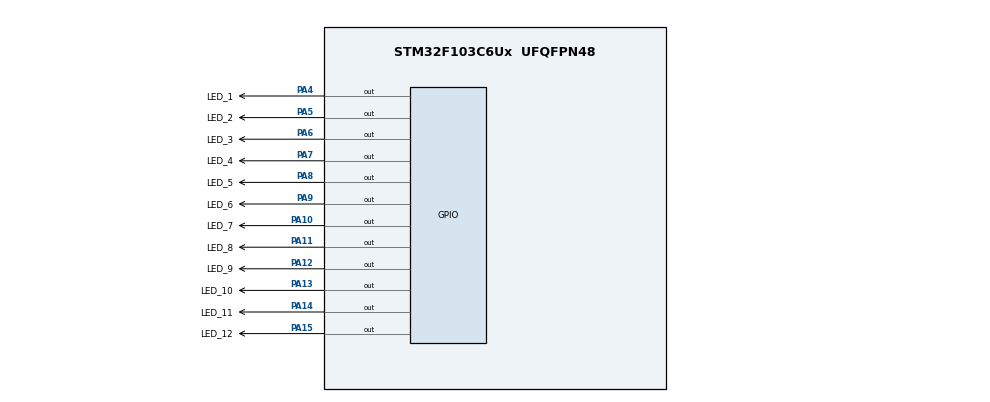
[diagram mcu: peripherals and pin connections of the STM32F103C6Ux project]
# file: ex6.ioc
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Mcu.Family=STM32F1
Mcu.Name=STM32F103C6Ux
Mcu.Package=UFQFPN48
NVIC.PriorityGroup=NVIC_PRIORITYGROUP_4
PA10.GPIO_Label=LED_7
PA10.Signal=GPIO_Output
PA11.GPIO_Label=LED_8
PA11.Signal=GPIO_Output
PA12.GPIO_Label=LED_9
PA12.Signal=GPIO_Output
PA13.GPIO_Label=LED_10
PA13.Signal=GPIO_Output
PA14.GPIO_Label=LED_11
PA14.Signal=GPIO_Output
PA15.GPIO_Label=LED_12
PA15.Signal=GPIO_Output
PA4.GPIO_Label=LED_1
PA4.Signal=GPIO_Output
PA5.GPIO_Label=LED_2
PA5.Signal=GPIO_Output
PA6.GPIO_Label=LED_3
PA6.Signal=GPIO_Output
PA7.GPIO_Label=LED_4
PA7.Signal=GPIO_Output
PA8.GPIO_Label=LED_5
PA8.Signal=GPIO_Output
PA9.GPIO_Label=LED_6
PA9.Signal=GPIO_Output
ProjectManager.HeapSize=0x200
ProjectManager.StackSize=0x400
ProjectManager.TargetToolchain=STM32CubeIDE
RCC.APB1Freq_Value=8000000
RCC.APB2Freq_Value=8000000
VP_SYS_VS_ND.Mode=No_Debug
board=custom

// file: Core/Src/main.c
/* USER CODE BEGIN Header */
/**
  ******************************************************************************
  * @file           : main.c
  * @brief          : Main program body
  ******************************************************************************
  * @attention
  *
  * <h2><center>&copy; Copyright (c) 2022 STMicroelectronics.
  * All rights reserved.</center></h2>
  *
  * This software component is licensed by ST under BSD 3-Clause license,
  * the "License"; You may not use this file except in compliance with the
  * License. You may obtain a copy of the License at:
  *                        opensource.org/licenses/BSD-3-Clause
  *
  ******************************************************************************
  */
/* USER CODE END Header */
#include "main.h"

void SystemClock_Config(void);
static void MX_GPIO_Init(void);

/* USER CODE BEGIN 0 */
int counter=0;
int counter0=0;
int counter1 =0;
int counter2=0;
/* USER CODE END 0 */

int main(void)
{
  /* USER CODE BEGIN 1 */
//	void sequence(int counter){ //ex 6
//			if(counter<1){
//				  HAL_GPIO_WritePin(LED_12_GPIO_Port, LED_12_Pin, SET );
//				  HAL_GPIO_WritePin(LED_11_GPIO_Port, LED_11_Pin, RESET );
//				  HAL_GPIO_WritePin(LED_10_GPIO_Port, LED_10_Pin, RESET );
//				  HAL_GPIO_WritePin(LED_9_GPIO_Port, LED_9_Pin, RESET );
//				  HAL_GPIO_WritePin(LED_8_GPIO_Port, LED_8_Pin, RESET );
//				  HAL_GPIO_WritePin(LED_7_GPIO_Port, LED_7_Pin, RESET );
//				  HAL_GPIO_WritePin(LED_6_GPIO_Port, LED_6_Pin, RESET );
//				  HAL_GPIO_WritePin(LED_5_GPIO_Port, LED_5_Pin, RESET );
//				  HAL_GPIO_WritePin(LED_5_GPIO_Port, LED_5_Pin, RESET );
//				  HAL_GPIO_WritePin(LED_4_GPIO_Port, LED_4_Pin, RESET );
//				  HAL_GPIO_WritePin(LED_3_GPIO_Port, LED_3_Pin, RESET );
//				  HAL_GPIO_WritePin(LED_2_GPIO_Port, LED_2_Pin, RESET );
//				  HAL_GPIO_WritePin(LED_1_GPIO_Port, LED_1_Pin, RESET );
//
//				  }
//				  else if(counter<2){
//					  HAL_GPIO_WritePin(LED_12_GPIO_Port, LED_12_Pin, RESET );
//					  HAL_GPIO_WritePin(LED_11_GPIO_Port, LED_11_Pin, RESET );
//					  HAL_GPIO_WritePin(LED_10_GPIO_Port, LED_10_Pin, RESET );
//					  HAL_GPIO_WritePin(LED_9_GPIO_Port, LED_9_Pin, RESET );
//					  HAL_GPIO_WritePin(LED_8_GPIO_Port, LED_8_Pin, RESET );
//					  HAL_GPIO_WritePin(LED_7_GPIO_Port, LED_7_Pin, RESET );
//					  HAL_GPIO_WritePin(LED_6_GPIO_Port, LED_6_Pin, RESET );
//					  HAL_GPIO_WritePin(LED_5_GPIO_Port, LED_5_Pin, RESET );
//					  HAL_GPIO_WritePin(LED_4_GPIO_Port, LED_4_Pin, RESET );
//					  HAL_GPIO_WritePin(LED_3_GPIO_Port, LED_3_Pin, RESET );
//					  HAL_GPIO_WritePin(LED_2_GPIO_Port, LED_2_Pin, RESET );
//					  HAL_GPIO_WritePin(LED_1_GPIO_Port, LED_1_Pin, SET );
//				  }
//				  else if(counter<3){
//					  HAL_GPIO_WritePin(LED_12_GPIO_Port, LED_12_Pin, RESET );
//					  HAL_GPIO_WritePin(LED_11_GPIO_Port, LED_11_Pin, RESET );
//					  HAL_GPIO_WritePin(LED_10_GPIO_Port, LED_10_Pin, RESET );
//					  HAL_GPIO_WritePin(LED_9_GPIO_Port, LED_9_Pin, RESET );
//					  HAL_GPIO_WritePin(LED_8_GPIO_Port, LED_8_Pin, RESET );
//					  HAL_GPIO_WritePin(LED_7_GPIO_Port, LED_7_Pin, RESET );
//					  HAL_GPIO_WritePin(LED_6_GPIO_Port, LED_6_Pin, RESET );
//					  HAL_GPIO_WritePin(LED_5_GPIO_Port, LED_5_Pin, RESET );
//					  HAL_GPIO_WritePin(LED_4_GPIO_Port, LED_4_Pin, RESET );
//					  HAL_GPIO_WritePin(LED_3_GPIO_Port, LED_3_Pin, RESET );
//					  HAL_GPIO_WritePin(LED_2_GPIO_Port, LED_2_Pin, SET );
//					  HAL_GPIO_WritePin(LED_1_GPIO_Port, LED_1_Pin, RESET );
//				  }
//				  else if(counter<4){
//					  HAL_GPIO_WritePin(LED_12_GPIO_Port, LED_12_Pin, RESET );
//					  HAL_GPIO_WritePin(LED_11_GPIO_Port, LED_11_Pin, RESET );
//					  HAL_GPIO_WritePin(LED_10_GPIO_Port, LED_10_Pin, RESET );
//					  HAL_GPIO_WritePin(LED_9_GPIO_Port, LED_9_Pin, RESET );
//					  HAL_GPIO_WritePin(LED_8_GPIO_Port, LED_8_Pin, RESET );
//					  HAL_GPIO_WritePin(LED_7_GPIO_Port, LED_7_Pin, RESET );
//					  HAL_GPIO_WritePin(LED_6_GPIO_Port, LED_6_Pin, RESET );
//					  HAL_GPIO_WritePin(LED_5_GPIO_Port, LED_5_Pin, RESET );
//					  HAL_GPIO_WritePin(LED_4_GPIO_Port, LED_4_Pin, RESET );
//					  HAL_GPIO_WritePin(LED_3_GPIO_Port, LED_3_Pin, SET );
//					  HAL_GPIO_WritePin(LED_2_GPIO_Port, LED_2_Pin, RESET );
//					  HAL_GPIO_WritePin(LED_1_GPIO_Port, LED_1_Pin, RESET );
//				  }
//				  else if(counter<5){
//					  HAL_GPIO_WritePin(LED_12_GPIO_Port, LED_12_Pin, RESET );
//					  HAL_GPIO_WritePin(LED_11_GPIO_Port, LED_11_Pin, RESET );
//					  HAL_GPIO_WritePin(LED_10_GPIO_Port, LED_10_Pin, RESET );
//					  HAL_GPIO_WritePin(LED_9_GPIO_Port, LED_9_Pin, RESET );
//					  HAL_GPIO_WritePin(LED_8_GPIO_Port, LED_8_Pin, RESET );
//					  HAL_GPIO_WritePin(LED_7_GPIO_Port, LED_7_Pin, RESET );
//					  HAL_GPIO_WritePin(LED_6_GPIO_Port, LED_6_Pin, RESET );
//					  HAL_GPIO_WritePin(LED_5_GPIO_Port, LED_5_Pin, RESET );
//					  HAL_GPIO_WritePin(LED_4_GPIO_Port, LED_4_Pin, SET );
//					  HAL_GPIO_WritePin(LED_3_GPIO_Port, LED_3_Pin, RESET );
//					  HAL_GPIO_WritePin(LED_2_GPIO_Port, LED_2_Pin, RESET );
//					  HAL_GPIO_WritePin(LED_1_GPIO_Port, LED_1_Pin, RESET );
//				  }
//				  else if(counter<6){
//				  		  HAL_GPIO_WritePin(LED_12_GPIO_Port, LED_12_Pin, RESET );
//				  		  HAL_GPIO_WritePin(LED_11_GPIO_Port, LED_11_Pin, RESET );
//				  		  HAL_GPIO_WritePin(LED_10_GPIO_Port, LED_10_Pin, RESET );
//				  		  HAL_GPIO_WritePin(LED_9_GPIO_Port, LED_9_Pin, RESET );
//				  		  HAL_GPIO_WritePin(LED_8_GPIO_Port, LED_8_Pin, RESET );
//				  		  HAL_GPIO_WritePin(LED_7_GPIO_Port, LED_7_Pin, RESET );
//				  		  HAL_GPIO_WritePin(LED_6_GPIO_Port, LED_6_Pin, RESET );
//				  		  HAL_GPIO_WritePin(LED_5_GPIO_Port, LED_5_Pin, SET );
//				  		  HAL_GPIO_WritePin(LED_4_GPIO_Port, LED_4_Pin, RESET );
//				  		  HAL_GPIO_WritePin(LED_3_GPIO_Port, LED_3_Pin, RESET );
//				  		  HAL_GPIO_WritePin(LED_2_GPIO_Port, LED_2_Pin, RESET );
//				  		  HAL_GPIO_WritePin(LED_1_GPIO_Port, LED_1_Pin, RESET );
//				  	  }
//				  else if(counter<7){
//				  	  		  HAL_GPIO_WritePin(LED_12_GPIO_Port, LED_12_Pin, RESET );
//				  	  		  HAL_GPIO_WritePin(LED_11_GPIO_Port, LED_11_Pin, RESET );
//				  	  		  HAL_GPIO_WritePin(LED_10_GPIO_Port, LED_10_Pin, RESET );
//				  	  		  HAL_GPIO_WritePin(LED_9_GPIO_Port, LED_9_Pin, RESET );
//				  	  		  HAL_GPIO_WritePin(LED_8_GPIO_Port, LED_8_Pin, RESET );
//				  	  		  HAL_GPIO_WritePin(LED_7_GPIO_Port, LED_7_Pin, RESET );
//				  	  		  HAL_GPIO_WritePin(LED_6_GPIO_Port, LED_6_Pin, SET );
//				  	  		  HAL_GPIO_WritePin(LED_5_GPIO_Port, LED_5_Pin, RESET );
//				  	  		  HAL_GPIO_WritePin(LED_4_GPIO_Port, LED_4_Pin, RESET );
//				  	  		  HAL_GPIO_WritePin(LED_3_GPIO_Port, LED_3_Pin, RESET );
//				  	  		  HAL_GPIO_WritePin(LED_2_GPIO_Port, LED_2_Pin, RESET );
//				  	  		  HAL_GPIO_WritePin(LED_1_GPIO_Port, LED_1_Pin, RESET );
//				  	  	  }
//				  else if(counter<8){
//				  	  		  HAL_GPIO_WritePin(LED_12_GPIO_Port, LED_12_Pin, RESET );
//				  	  		  HAL_GPIO_WritePin(LED_11_GPIO_Port, LED_11_Pin, RESET );
//				  	  		  HAL_GPIO_WritePin(LED_10_GPIO_Port, LED_10_Pin, RESET );
//				  	  		  HAL_GPIO_WritePin(LED_9_GPIO_Port, LED_9_Pin, RESET );
//				  	  		  HAL_GPIO_WritePin(LED_8_GPIO_Port, LED_8_Pin, RESET );
//				  	  		  HAL_GPIO_WritePin(LED_7_GPIO_Port, LED_7_Pin, SET );
//				  	  		  HAL_GPIO_WritePin(LED_6_GPIO_Port, LED_6_Pin, RESET );
//				  	  		  HAL_GPIO_WritePin(LED_5_GPIO_Port, LED_5_Pin, RESET );
//				  	  		  HAL_GPIO_WritePin(LED_4_GPIO_Port, LED_4_Pin, RESET );
//				  	  		  HAL_GPIO_WritePin(LED_3_GPIO_Port, LED_3_Pin, RESET );
//				  	  		  HAL_GPIO_WritePin(LED_2_GPIO_Port, LED_2_Pin, RESET );
//				  	  		  HAL_GPIO_WritePin(LED_1_GPIO_Port, LED_1_Pin, RESET );
//				  	  	  }
//				  else if(counter<9){
//				  	  		  HAL_GPIO_WritePin(LED_12_GPIO_Port, LED_12_Pin, RESET );
//				  	  		  HAL_GPIO_WritePin(LED_11_GPIO_Port, LED_11_Pin, RESET );
//				  	  		  HAL_GPIO_WritePin(LED_10_GPIO_Port, LED_10_Pin, RESET );
//				  	  		  HAL_GPIO_WritePin(LED_9_GPIO_Port, LED_9_Pin, RESET );
//				  	  		  HAL_GPIO_WritePin(LED_8_GPIO_Port, LED_8_Pin, SET );
//				  	  		  HAL_GPIO_WritePin(LED_7_GPIO_Port, LED_7_Pin, RESET );
//				  	  		  HAL_GPIO_WritePin(LED_6_GPIO_Port, LED_6_Pin, RESET );
//				  	  		  HAL_GPIO_WritePin(LED_5_GPIO_Port, LED_5_Pin, RESET );
//				  	  		  HAL_GPIO_WritePin(LED_4_GPIO_Port, LED_4_Pin, RESET );
//				  	  		  HAL_GPIO_WritePin(LED_3_GPIO_Port, LED_3_Pin, RESET );
//				  	  		  HAL_GPIO_WritePin(LED_2_GPIO_Port, LED_2_Pin, RESET );
//				  	  		  HAL_GPIO_WritePin(LED_1_GPIO_Port, LED_1_Pin, RESET );
//				  	  	  }
//				  else if(counter<10){
//				  	  		  HAL_GPIO_WritePin(LED_12_GPIO_Port, LED_12_Pin, RESET );
//				  	  		  HAL_GPIO_WritePin(LED_11_GPIO_Port, LED_11_Pin, RESET );
//				  	  		  HAL_GPIO_WritePin(LED_10_GPIO_Port, LED_10_Pin, RESET );
//				  	  		  HAL_GPIO_WritePin(LED_9_GPIO_Port, LED_9_Pin, SET );
//				  	  		  HAL_GPIO_WritePin(LED_8_GPIO_Port, LED_8_Pin, RESET );
//				  	  		  HAL_GPIO_WritePin(LED_7_GPIO_Port, LED_7_Pin, RESET );
//				  	  		  HAL_GPIO_WritePin(LED_6_GPIO_Port, LED_6_Pin, RESET );
//				  	  		  HAL_GPIO_WritePin(LED_5_GPIO_Port, LED_5_Pin, RESET );
//				  	  		  HAL_GPIO_WritePin(LED_4_GPIO_Port, LED_4_Pin, RESET );
//				  	  		  HAL_GPIO_WritePin(LED_3_GPIO_Port, LED_3_Pin, RESET );
//				  	  		  HAL_GPIO_WritePin(LED_2_GPIO_Port, LED_2_Pin, RESET );
//				  	  		  HAL_GPIO_WritePin(LED_1_GPIO_Port, LED_1_Pin, RESET );
//				  	  	  }
//				  else if(counter<11){
//				  	  		  HAL_GPIO_WritePin(LED_12_GPIO_Port, LED_12_Pin, RESET );
//				  	  		  HAL_GPIO_WritePin(LED_11_GPIO_Port, LED_11_Pin, RESET );
//				  	  		  HAL_GPIO_WritePin(LED_10_GPIO_Port, LED_10_Pin, SET );
//				  	  		  HAL_GPIO_WritePin(LED_9_GPIO_Port, LED_9_Pin, RESET );
//				  	  		  HAL_GPIO_WritePin(LED_8_GPIO_Port, LED_8_Pin, RESET );
//				  	  		  HAL_GPIO_WritePin(LED_7_GPIO_Port, LED_7_Pin, RESET );
//				  	  		  HAL_GPIO_WritePin(LED_6_GPIO_Port, LED_6_Pin, RESET );
//				  	  		  HAL_GPIO_WritePin(LED_5_GPIO_Port, LED_5_Pin, RESET );
//				  	  		  HAL_GPIO_WritePin(LED_4_GPIO_Port, LED_4_Pin, RESET );
//				  	  		  HAL_GPIO_WritePin(LED_3_GPIO_Port, LED_3_Pin, RESET );
//				  	  		  HAL_GPIO_WritePin(LED_2_GPIO_Port, LED_2_Pin, RESET );
//				  	  		  HAL_GPIO_WritePin(LED_1_GPIO_Port, LED_1_Pin, RESET );
//				  	  	  }
//				  else if(counter<12){
//				  	  		  HAL_GPIO_WritePin(LED_12_GPIO_Port, LED_12_Pin, RESET );
//				  	  		  HAL_GPIO_WritePin(LED_11_GPIO_Port, LED_11_Pin, SET );
//				  	  		  HAL_GPIO_WritePin(LED_10_GPIO_Port, LED_10_Pin, RESET );
//				  	  		  HAL_GPIO_WritePin(LED_9_GPIO_Port, LED_9_Pin, RESET );
//				  	  		  HAL_GPIO_WritePin(LED_8_GPIO_Port, LED_8_Pin, RESET );
//				  	  		  HAL_GPIO_WritePin(LED_7_GPIO_Port, LED_7_Pin, RESET );
//				  	  		  HAL_GPIO_WritePin(LED_6_GPIO_Port, LED_6_Pin, RESET );
//				  	  		  HAL_GPIO_WritePin(LED_5_GPIO_Port, LED_5_Pin, RESET );
//				  	  		  HAL_GPIO_WritePin(LED_4_GPIO_Port, LED_4_Pin, RESET );
//				  	  		  HAL_GPIO_WritePin(LED_3_GPIO_Port, LED_3_Pin, RESET );
//				  	  		  HAL_GPIO_WritePin(LED_2_GPIO_Port, LED_2_Pin, RESET );
//				  	  		  HAL_GPIO_WritePin(LED_1_GPIO_Port, LED_1_Pin, RESET );
//				  	  	  }
//		}

//	void clearAllClock(){  // ex 7
//		HAL_GPIO_WritePin(LED_12_GPIO_Port, LED_12_Pin, RESET );
//		HAL_GPIO_WritePin(LED_11_GPIO_Port, LED_11_Pin, RESET );
//		HAL_GPIO_WritePin(LED_10_GPIO_Port, LED_10_Pin, RESET );
//		HAL_GPIO_WritePin(LED_9_GPIO_Port, LED_9_Pin, RESET );
//		HAL_GPIO_WritePin(LED_8_GPIO_Port, LED_8_Pin, RESET );
//		HAL_GPIO_WritePin(LED_7_GPIO_Port, LED_7_Pin, RESET );
//		HAL_GPIO_WritePin(LED_6_GPIO_Port, LED_6_Pin, RESET );
//		HAL_GPIO_WritePin(LED_5_GPIO_Port, LED_5_Pin, RESET );
//		HAL_GPIO_WritePin(LED_4_GPIO_Port, LED_4_Pin, RESET );
//		HAL_GPIO_WritePin(LED_3_GPIO_Port, LED_3_Pin, RESET );
//		HAL_GPIO_WritePin(LED_2_GPIO_Port, LED_2_Pin, RESET );
//		HAL_GPIO_WritePin(LED_1_GPIO_Port, LED_1_Pin, RESET );
//	}

//	void setNumberOnClock(int num){ // ex 8
//						if(num==0 ){
//										  HAL_GPIO_WritePin(LED_12_GPIO_Port, LED_12_Pin, SET );
//									  }
//						else if(num==1){
//										  HAL_GPIO_WritePin(LED_1_GPIO_Port, LED_1_Pin, SET );
//									  }
//						else if(num==2){
//										  HAL_GPIO_WritePin(LED_2_GPIO_Port, LED_2_Pin, SET );
//									  }
//						else if(num==3){
//
//										  HAL_GPIO_WritePin(LED_3_GPIO_Port, LED_3_Pin, SET );
//
//									  }
//						else if(num==4){
//
//										  HAL_GPIO_WritePin(LED_4_GPIO_Port, LED_4_Pin, SET );
//
//									  }
//						else if(num==5){
//
//									  		  HAL_GPIO_WritePin(LED_5_GPIO_Port, LED_5_Pin, SET );
//
//									  	  }
//						else if(num==6){
//
//									  	  		  HAL_GPIO_WritePin(LED_6_GPIO_Port, LED_6_Pin, SET );
//
//									  	  	  }
//						else if(num==7){
//
//									  	  		  HAL_GPIO_WritePin(LED_7_GPIO_Port, LED_7_Pin, SET );
//
//									  	  	  }
//						else if(num==8){
//
//									  	  		  HAL_GPIO_WritePin(LED_8_GPIO_Port, LED_8_Pin, SET );
//
//									  	  	  }
//						else if(num==9){
//
//									  	  		  HAL_GPIO_WritePin(LED_9_GPIO_Port, LED_9_Pin, SET );
//
//									  	  	  }
//						else if(num==10){
//
//									  	  		  HAL_GPIO_WritePin(LED_10_GPIO_Port, LED_10_Pin, SET );
//
//									  	  	  }
//						else if(num==11){
//
//									  	  		  HAL_GPIO_WritePin(LED_11_GPIO_Port, LED_11_Pin, SET );
//
//									  	  	  }
//	}

//	void clearNumberOnClock(int num){ // ex 9
//								if(num==0 ){
//												  HAL_GPIO_WritePin(LED_12_GPIO_Port, LED_12_Pin, RESET );
//											  }
//								else if(num==1){
//												  HAL_GPIO_WritePin(LED_1_GPIO_Port, LED_1_Pin, RESET );
//											  }
//								else if(num==2){
//												  HAL_GPIO_WritePin(LED_2_GPIO_Port, LED_2_Pin, RESET );
//											  }
//								else if(num==3){
//
//												  HAL_GPIO_WritePin(LED_3_GPIO_Port, LED_3_Pin, RESET );
//
//											  }
//								else if(num==4){
//
//												  HAL_GPIO_WritePin(LED_4_GPIO_Port, LED_4_Pin, RESET );
//
//											  }
//								else if(num==5){
//
//											  		  HAL_GPIO_WritePin(LED_5_GPIO_Port, LED_5_Pin, RESET );
//
//											  	  }
//								else if(num==6){
//
//											  	  		  HAL_GPIO_WritePin(LED_6_GPIO_Port, LED_6_Pin, RESET );
//
//											  	  	  }
//								else if(num==7){
//
//											  	  		  HAL_GPIO_WritePin(LED_7_GPIO_Port, LED_7_Pin, RESET );
//
//											  	  	  }
//								else if(num==8){
//
//											  	  		  HAL_GPIO_WritePin(LED_8_GPIO_Port, LED_8_Pin, RESET );
//
//											  	  	  }
//								else if(num==9){
//
//											  	  		  HAL_GPIO_WritePin(LED_9_GPIO_Port, LED_9_Pin, RESET );
//
//											  	  	  }
//								else if(num==10){
//
//											  	  		  HAL_GPIO_WritePin(LED_10_GPIO_Port, LED_10_Pin, RESET );
//
//											  	  	  }
//								else if(num==11){
//
//											  	  		  HAL_GPIO_WritePin(LED_11_GPIO_Port, LED_11_Pin, RESET );
//
//											  	  	  }
//	}

	void second(int counter){ //ex 10
		if(counter<1){
				  HAL_GPIO_WritePin(LED_12_GPIO_Port, LED_12_Pin, SET );
				  HAL_GPIO_WritePin(LED_11_GPIO_Port, LED_11_Pin, RESET );
				  HAL_GPIO_WritePin(LED_10_GPIO_Port, LED_10_Pin, RESET );
				  HAL_GPIO_WritePin(LED_9_GPIO_Port, LED_9_Pin, RESET );
				  HAL_GPIO_WritePin(LED_8_GPIO_Port, LED_8_Pin, RESET );
				  HAL_GPIO_WritePin(LED_7_GPIO_Port, LED_7_Pin, RESET );
				  HAL_GPIO_WritePin(LED_6_GPIO_Port, LED_6_Pin, RESET );
				  HAL_GPIO_WritePin(LED_5_GPIO_Port, LED_5_Pin, RESET );
				  HAL_GPIO_WritePin(LED_5_GPIO_Port, LED_5_Pin, RESET );
				  HAL_GPIO_WritePin(LED_4_GPIO_Port, LED_4_Pin, RESET );
				  HAL_GPIO_WritePin(LED_3_GPIO_Port, LED_3_Pin, RESET );
				  HAL_GPIO_WritePin(LED_2_GPIO_Port, LED_2_Pin, RESET );
				  HAL_GPIO_WritePin(LED_1_GPIO_Port, LED_1_Pin, RESET );

			  }
			  else if(counter<2){
				  HAL_GPIO_WritePin(LED_12_GPIO_Port, LED_12_Pin, RESET );
				  HAL_GPIO_WritePin(LED_11_GPIO_Port, LED_11_Pin, RESET );
				  HAL_GPIO_WritePin(LED_10_GPIO_Port, LED_10_Pin, RESET );
				  HAL_GPIO_WritePin(LED_9_GPIO_Port, LED_9_Pin, RESET );
				  HAL_GPIO_WritePin(LED_8_GPIO_Port, LED_8_Pin, RESET );
				  HAL_GPIO_WritePin(LED_7_GPIO_Port, LED_7_Pin, RESET );
				  HAL_GPIO_WritePin(LED_6_GPIO_Port, LED_6_Pin, RESET );
				  HAL_GPIO_WritePin(LED_5_GPIO_Port, LED_5_Pin, RESET );
				  HAL_GPIO_WritePin(LED_4_GPIO_Port, LED_4_Pin, RESET );
				  HAL_GPIO_WritePin(LED_3_GPIO_Port, LED_3_Pin, RESET );
				  HAL_GPIO_WritePin(LED_2_GPIO_Port, LED_2_Pin, RESET );
				  HAL_GPIO_WritePin(LED_1_GPIO_Port, LED_1_Pin, SET );
			  }
			  else if(counter<3){
				  HAL_GPIO_WritePin(LED_12_GPIO_Port, LED_12_Pin, RESET );
				  HAL_GPIO_WritePin(LED_11_GPIO_Port, LED_11_Pin, RESET );
				  HAL_GPIO_WritePin(LED_10_GPIO_Port, LED_10_Pin, RESET );
				  HAL_GPIO_WritePin(LED_9_GPIO_Port, LED_9_Pin, RESET );
				  HAL_GPIO_WritePin(LED_8_GPIO_Port, LED_8_Pin, RESET );
				  HAL_GPIO_WritePin(LED_7_GPIO_Port, LED_7_Pin, RESET );
				  HAL_GPIO_WritePin(LED_6_GPIO_Port, LED_6_Pin, RESET );
				  HAL_GPIO_WritePin(LED_5_GPIO_Port, LED_5_Pin, RESET );
				  HAL_GPIO_WritePin(LED_4_GPIO_Port, LED_4_Pin, RESET );
				  HAL_GPIO_WritePin(LED_3_GPIO_Port, LED_3_Pin, RESET );
				  HAL_GPIO_WritePin(LED_2_GPIO_Port, LED_2_Pin, SET );
				  HAL_GPIO_WritePin(LED_1_GPIO_Port, LED_1_Pin, RESET );
			  }
			  else if(counter<4){
				  HAL_GPIO_WritePin(LED_12_GPIO_Port, LED_12_Pin, RESET );
				  HAL_GPIO_WritePin(LED_11_GPIO_Port, LED_11_Pin, RESET );
				  HAL_GPIO_WritePin(LED_10_GPIO_Port, LED_10_Pin, RESET );
				  HAL_GPIO_WritePin(LED_9_GPIO_Port, LED_9_Pin, RESET );
				  HAL_GPIO_WritePin(LED_8_GPIO_Port, LED_8_Pin, RESET );
				  HAL_GPIO_WritePin(LED_7_GPIO_Port, LED_7_Pin, RESET );
				  HAL_GPIO_WritePin(LED_6_GPIO_Port, LED_6_Pin, RESET );
				  HAL_GPIO_WritePin(LED_5_GPIO_Port, LED_5_Pin, RESET );
				  HAL_GPIO_WritePin(LED_4_GPIO_Port, LED_4_Pin, RESET );
				  HAL_GPIO_WritePin(LED_3_GPIO_Port, LED_3_Pin, SET );
				  HAL_GPIO_WritePin(LED_2_GPIO_Port, LED_2_Pin, RESET );
				  HAL_GPIO_WritePin(LED_1_GPIO_Port, LED_1_Pin, RESET );
			  }
			  else if(counter<5){
				  HAL_GPIO_WritePin(LED_12_GPIO_Port, LED_12_Pin, RESET );
				  HAL_GPIO_WritePin(LED_11_GPIO_Port, LED_11_Pin, RESET );
				  HAL_GPIO_WritePin(LED_10_GPIO_Port, LED_10_Pin, RESET );
				  HAL_GPIO_WritePin(LED_9_GPIO_Port, LED_9_Pin, RESET );
				  HAL_GPIO_WritePin(LED_8_GPIO_Port, LED_8_Pin, RESET );
				  HAL_GPIO_WritePin(LED_7_GPIO_Port, LED_7_Pin, RESET );
				  HAL_GPIO_WritePin(LED_6_GPIO_Port, LED_6_Pin, RESET );
				  HAL_GPIO_WritePin(LED_5_GPIO_Port, LED_5_Pin, RESET );
				  HAL_GPIO_WritePin(LED_4_GPIO_Port, LED_4_Pin, SET );
				  HAL_GPIO_WritePin(LED_3_GPIO_Port, LED_3_Pin, RESET );
				  HAL_GPIO_WritePin(LED_2_GPIO_Port, LED_2_Pin, RESET );
				  HAL_GPIO_WritePin(LED_1_GPIO_Port, LED_1_Pin, RESET );
			  }
			  else if(counter<6){
			  		  HAL_GPIO_WritePin(LED_12_GPIO_Port, LED_12_Pin, RESET );
			  		  HAL_GPIO_WritePin(LED_11_GPIO_Port, LED_11_Pin, RESET );
			  		  HAL_GPIO_WritePin(LED_10_GPIO_Port, LED_10_Pin, RESET );
			  		  HAL_GPIO_WritePin(LED_9_GPIO_Port, LED_9_Pin, RESET );
			  		  HAL_GPIO_WritePin(LED_8_GPIO_Port, LED_8_Pin, RESET );
			  		  HAL_GPIO_WritePin(LED_7_GPIO_Port, LED_7_Pin, RESET );
			  		  HAL_GPIO_WritePin(LED_6_GPIO_Port, LED_6_Pin, RESET );
			  		  HAL_GPIO_WritePin(LED_5_GPIO_Port, LED_5_Pin, SET );
			  		  HAL_GPIO_WritePin(LED_4_GPIO_Port, LED_4_Pin, RESET );
			  		  HAL_GPIO_WritePin(LED_3_GPIO_Port, LED_3_Pin, RESET );
			  		  HAL_GPIO_WritePin(LED_2_GPIO_Port, LED_2_Pin, RESET );
			  		  HAL_GPIO_WritePin(LED_1_GPIO_Port, LED_1_Pin, RESET );
			  	  }
			  else if(counter<7){
			  	  		  HAL_GPIO_WritePin(LED_12_GPIO_Port, LED_12_Pin, RESET );
			  	  		  HAL_GPIO_WritePin(LED_11_GPIO_Port, LED_11_Pin, RESET );
			  	  		  HAL_GPIO_WritePin(LED_10_GPIO_Port, LED_10_Pin, RESET );
			  	  		  HAL_GPIO_WritePin(LED_9_GPIO_Port, LED_9_Pin, RESET );
			  	  		  HAL_GPIO_WritePin(LED_8_GPIO_Port, LED_8_Pin, RESET );
			  	  		  HAL_GPIO_WritePin(LED_7_GPIO_Port, LED_7_Pin, RESET );
			  	  		  HAL_GPIO_WritePin(LED_6_GPIO_Port, LED_6_Pin, SET );
			  	  		  HAL_GPIO_WritePin(LED_5_GPIO_Port, LED_5_Pin, RESET );
			  	  		  HAL_GPIO_WritePin(LED_4_GPIO_Port, LED_4_Pin, RESET );
			  	  		  HAL_GPIO_WritePin(LED_3_GPIO_Port, LED_3_Pin, RESET );
			  	  		  HAL_GPIO_WritePin(LED_2_GPIO_Port, LED_2_Pin, RESET );
			  	  		  HAL_GPIO_WritePin(LED_1_GPIO_Port, LED_1_Pin, RESET );
			  	  	  }
			  else if(counter<8){
			  	  		  HAL_GPIO_WritePin(LED_12_GPIO_Port, LED_12_Pin, RESET );
			  	  		  HAL_GPIO_WritePin(LED_11_GPIO_Port, LED_11_Pin, RESET );
			  	  		  HAL_GPIO_WritePin(LED_10_GPIO_Port, LED_10_Pin, RESET );
			  	  		  HAL_GPIO_WritePin(LED_9_GPIO_Port, LED_9_Pin, RESET );
			  	  		  HAL_GPIO_WritePin(LED_8_GPIO_Port, LED_8_Pin, RESET );
			  	  		  HAL_GPIO_WritePin(LED_7_GPIO_Port, LED_7_Pin, SET );
			  	  		  HAL_GPIO_WritePin(LED_6_GPIO_Port, LED_6_Pin, RESET );
			  	  		  HAL_GPIO_WritePin(LED_5_GPIO_Port, LED_5_Pin, RESET );
			  	  		  HAL_GPIO_WritePin(LED_4_GPIO_Port, LED_4_Pin, RESET );
			  	  		  HAL_GPIO_WritePin(LED_3_GPIO_Port, LED_3_Pin, RESET );
			  	  		  HAL_GPIO_WritePin(LED_2_GPIO_Port, LED_2_Pin, RESET );
			  	  		  HAL_GPIO_WritePin(LED_1_GPIO_Port, LED_1_Pin, RESET );
			  	  	  }
			  else if(counter<9){
			  	  		  HAL_GPIO_WritePin(LED_12_GPIO_Port, LED_12_Pin, RESET );
			  	  		  HAL_GPIO_WritePin(LED_11_GPIO_Port, LED_11_Pin, RESET );
			  	  		  HAL_GPIO_WritePin(LED_10_GPIO_Port, LED_10_Pin, RESET );
			  	  		  HAL_GPIO_WritePin(LED_9_GPIO_Port, LED_9_Pin, RESET );
			  	  		  HAL_GPIO_WritePin(LED_8_GPIO_Port, LED_8_Pin, SET );
			  	  		  HAL_GPIO_WritePin(LED_7_GPIO_Port, LED_7_Pin, RESET );
			  	  		  HAL_GPIO_WritePin(LED_6_GPIO_Port, LED_6_Pin, RESET );
			  	  		  HAL_GPIO_WritePin(LED_5_GPIO_Port, LED_5_Pin, RESET );
			  	  		  HAL_GPIO_WritePin(LED_4_GPIO_Port, LED_4_Pin, RESET );
			  	  		  HAL_GPIO_WritePin(LED_3_GPIO_Port, LED_3_Pin, RESET );
			  	  		  HAL_GPIO_WritePin(LED_2_GPIO_Port, LED_2_Pin, RESET );
			  	  		  HAL_GPIO_WritePin(LED_1_GPIO_Port, LED_1_Pin, RESET );
			  	  	  }
			  else if(counter<10){
			  	  		  HAL_GPIO_WritePin(LED_12_GPIO_Port, LED_12_Pin, RESET );
			  	  		  HAL_GPIO_WritePin(LED_11_GPIO_Port, LED_11_Pin, RESET );
			  	  		  HAL_GPIO_WritePin(LED_10_GPIO_Port, LED_10_Pin, RESET );
			  	  		  HAL_GPIO_WritePin(LED_9_GPIO_Port, LED_9_Pin, SET );
			  	  		  HAL_GPIO_WritePin(LED_8_GPIO_Port, LED_8_Pin, RESET );
			  	  		  HAL_GPIO_WritePin(LED_7_GPIO_Port, LED_7_Pin, RESET );
			  	  		  HAL_GPIO_WritePin(LED_6_GPIO_Port, LED_6_Pin, RESET );
			  	  		  HAL_GPIO_WritePin(LED_5_GPIO_Port, LED_5_Pin, RESET );
			  	  		  HAL_GPIO_WritePin(LED_4_GPIO_Port, LED_4_Pin, RESET );
			  	  		  HAL_GPIO_WritePin(LED_3_GPIO_Port, LED_3_Pin, RESET );
			  	  		  HAL_GPIO_WritePin(LED_2_GPIO_Port, LED_2_Pin, RESET );
			  	  		  HAL_GPIO_WritePin(LED_1_GPIO_Port, LED_1_Pin, RESET );
			  	  	  }
			  else if(counter<11){
			  	  		  HAL_GPIO_WritePin(LED_12_GPIO_Port, LED_12_Pin, RESET );
			  	  		  HAL_GPIO_WritePin(LED_11_GPIO_Port, LED_11_Pin, RESET );
			  	  		  HAL_GPIO_WritePin(LED_10_GPIO_Port, LED_10_Pin, SET );
			  	  		  HAL_GPIO_WritePin(LED_9_GPIO_Port, LED_9_Pin, RESET );
			  	  		  HAL_GPIO_WritePin(LED_8_GPIO_Port, LED_8_Pin, RESET );
			  	  		  HAL_GPIO_WritePin(LED_7_GPIO_Port, LED_7_Pin, RESET );
			  	  		  HAL_GPIO_WritePin(LED_6_GPIO_Port, LED_6_Pin, RESET );
			  	  		  HAL_GPIO_WritePin(LED_5_GPIO_Port, LED_5_Pin, RESET );
			  	  		  HAL_GPIO_WritePin(LED_4_GPIO_Port, LED_4_Pin, RESET );
			  	  		  HAL_GPIO_WritePin(LED_3_GPIO_Port, LED_3_Pin, RESET );
			  	  		  HAL_GPIO_WritePin(LED_2_GPIO_Port, LED_2_Pin, RESET );
			  	  		  HAL_GPIO_WritePin(LED_1_GPIO_Port, LED_1_Pin, RESET );
			  	  	  }
			  else if(counter<12){
			  	  		  HAL_GPIO_WritePin(LED_12_GPIO_Port, LED_12_Pin, RESET );
			  	  		  HAL_GPIO_WritePin(LED_11_GPIO_Port, LED_11_Pin, SET );
			  	  		  HAL_GPIO_WritePin(LED_10_GPIO_Port, LED_10_Pin, RESET );
			  	  		  HAL_GPIO_WritePin(LED_9_GPIO_Port, LED_9_Pin, RESET );
			  	  		  HAL_GPIO_WritePin(LED_8_GPIO_Port, LED_8_Pin, RESET );
			  	  		  HAL_GPIO_WritePin(LED_7_GPIO_Port, LED_7_Pin, RESET );
			  	  		  HAL_GPIO_WritePin(LED_6_GPIO_Port, LED_6_Pin, RESET );
			  	  		  HAL_GPIO_WritePin(LED_5_GPIO_Port, LED_5_Pin, RESET );
			  	  		  HAL_GPIO_WritePin(LED_4_GPIO_Port, LED_4_Pin, RESET );
			  	  		  HAL_GPIO_WritePin(LED_3_GPIO_Port, LED_3_Pin, RESET );
			  	  		  HAL_GPIO_WritePin(LED_2_GPIO_Port, LED_2_Pin, RESET );
			  	  		  HAL_GPIO_WritePin(LED_1_GPIO_Port, LED_1_Pin, RESET );
			  	  	  }
	}
	void hour(int counter){	//ex 10
		if(counter<5 ){
								  HAL_GPIO_WritePin(LED_12_GPIO_Port, LED_12_Pin, SET );
							  }
				else if(counter<10){
								  HAL_GPIO_WritePin(LED_1_GPIO_Port, LED_1_Pin, SET );
							  }
				else if(counter<15){
								  HAL_GPIO_WritePin(LED_2_GPIO_Port, LED_2_Pin, SET );
							  }
				else if(counter<20){

								  HAL_GPIO_WritePin(LED_3_GPIO_Port, LED_3_Pin, SET );

							  }
				else if(counter<25){

								  HAL_GPIO_WritePin(LED_4_GPIO_Port, LED_4_Pin, SET );

							  }
				else if(counter<30){

							  		  HAL_GPIO_WritePin(LED_5_GPIO_Port, LED_5_Pin, SET );

							  	  }
				else if(counter<35){

							  	  		  HAL_GPIO_WritePin(LED_6_GPIO_Port, LED_6_Pin, SET );

							  	  	  }
				else if(counter<40){

							  	  		  HAL_GPIO_WritePin(LED_7_GPIO_Port, LED_7_Pin, SET );

							  	  	  }
				else if(counter<45){

							  	  		  HAL_GPIO_WritePin(LED_8_GPIO_Port, LED_8_Pin, SET );

							  	  	  }
				else if(counter<50){

							  	  		  HAL_GPIO_WritePin(LED_9_GPIO_Port, LED_9_Pin, SET );

							  	  	  }
				else if(counter<55){

							  	  		  HAL_GPIO_WritePin(LED_10_GPIO_Port, LED_10_Pin, SET );

							  	  	  }
				else if(counter<60){

							  	  		  HAL_GPIO_WritePin(LED_11_GPIO_Port, LED_11_Pin, SET );

							  	  	  }
	}
	void minute(int counter){	// ex 10
		if(counter<5 ){
						  HAL_GPIO_WritePin(LED_12_GPIO_Port, LED_12_Pin, SET );
					  }
		else if(counter<10){
						  HAL_GPIO_WritePin(LED_1_GPIO_Port, LED_1_Pin, SET );
					  }
		else if(counter<15){
						  HAL_GPIO_WritePin(LED_2_GPIO_Port, LED_2_Pin, SET );
					  }
		else if(counter<20){

						  HAL_GPIO_WritePin(LED_3_GPIO_Port, LED_3_Pin, SET );

					  }
		else if(counter<25){

						  HAL_GPIO_WritePin(LED_4_GPIO_Port, LED_4_Pin, SET );

					  }
		else if(counter<30){

					  		  HAL_GPIO_WritePin(LED_5_GPIO_Port, LED_5_Pin, SET );

					  	  }
		else if(counter<35){

					  	  		  HAL_GPIO_WritePin(LED_6_GPIO_Port, LED_6_Pin, SET );

					  	  	  }
		else if(counter<40){

					  	  		  HAL_GPIO_WritePin(LED_7_GPIO_Port, LED_7_Pin, SET );

					  	  	  }
		else if(counter<45){

					  	  		  HAL_GPIO_WritePin(LED_8_GPIO_Port, LED_8_Pin, SET );

					  	  	  }
		else if(counter<50){

					  	  		  HAL_GPIO_WritePin(LED_9_GPIO_Port, LED_9_Pin, SET );

					  	  	  }
		else if(counter<55){

					  	  		  HAL_GPIO_WritePin(LED_10_GPIO_Port, LED_10_Pin, SET );

					  	  	  }
		else if(counter<60){

					  	  		  HAL_GPIO_WritePin(LED_11_GPIO_Port, LED_11_Pin, SET );

					  	  	  }
	}

  /* USER CODE END 1 */

  /* MCU Configuration--------------------------------------------------------*/

  /* Reset of all peripherals, Initializes the Flash interface and the Systick. */
  HAL_Init();

  /* Configure the system clock */
  SystemClock_Config();

  /* Initialize all configured peripherals */
  MX_GPIO_Init();

  /* Infinite loop */
  while (1)
  {
//	  sequence(counter++); // ex 6
//	  if(counter>=12) counter=0;
//	  HAL_Delay(50);

	  second(counter0++); //ex 10
	  minute(counter1);
	  hour(counter2);
	  if(counter0>=12) {counter0=0; counter1++;}
	  if(counter1>=60) {counter1=0; counter2++;}
	  if(counter2>=60) counter2=0;
	  HAL_Delay(50);

  }
}

void SystemClock_Config(void)
{
  RCC_OscInitTypeDef RCC_OscInitStruct = {0};
  RCC_ClkInitTypeDef RCC_ClkInitStruct = {0};

  /** Initializes the RCC Oscillators according to the specified parameters
  * in the RCC_OscInitTypeDef structure.
  */
  RCC_OscInitStruct.OscillatorType = RCC_OSCILLATORTYPE_HSI;
  RCC_OscInitStruct.HSIState = RCC_HSI_ON;
  RCC_OscInitStruct.HSICalibrationValue = RCC_HSICALIBRATION_DEFAULT;
  RCC_OscInitStruct.PLL.PLLState = RCC_PLL_NONE;
  if (HAL_RCC_OscConfig(&RCC_OscInitStruct) != HAL_OK)
  {
    Error_Handler();
  }
  /** Initializes the CPU, AHB and APB buses clocks
  */
  RCC_ClkInitStruct.ClockType = RCC_CLOCKTYPE_HCLK|RCC_CLOCKTYPE_SYSCLK
                              |RCC_CLOCKTYPE_PCLK1|RCC_CLOCKTYPE_PCLK2;
  RCC_ClkInitStruct.SYSCLKSource = RCC_SYSCLKSOURCE_HSI;
  RCC_ClkInitStruct.AHBCLKDivider = RCC_SYSCLK_DIV1;
  RCC_ClkInitStruct.APB1CLKDivider = RCC_HCLK_DIV1;
  RCC_ClkInitStruct.APB2CLKDivider = RCC_HCLK_DIV1;

  if (HAL_RCC_ClockConfig(&RCC_ClkInitStruct, FLASH_LATENCY_0) != HAL_OK)
  {
    Error_Handler();
  }
}

static void MX_GPIO_Init(void)
{
  GPIO_InitTypeDef GPIO_InitStruct = {0};

  /* GPIO Ports Clock Enable */
  __HAL_RCC_GPIOA_CLK_ENABLE();

  /*Configure GPIO pin Output Level */
  HAL_GPIO_WritePin(GPIOA, LED_1_Pin|LED_2_Pin|LED_3_Pin|LED_4_Pin
                          |LED_5_Pin|LED_6_Pin|LED_7_Pin|LED_8_Pin
                          |LED_9_Pin|LED_10_Pin|LED_11_Pin|LED_12_Pin, GPIO_PIN_RESET);

  /*Configure GPIO pins : LED_1_Pin LED_2_Pin LED_3_Pin LED_4_Pin
                           LED_5_Pin LED_6_Pin LED_7_Pin LED_8_Pin
                           LED_9_Pin LED_10_Pin LED_11_Pin LED_12_Pin */
  GPIO_InitStruct.Pin = LED_1_Pin|LED_2_Pin|LED_3_Pin|LED_4_Pin
                          |LED_5_Pin|LED_6_Pin|LED_7_Pin|LED_8_Pin
                          |LED_9_Pin|LED_10_Pin|LED_11_Pin|LED_12_Pin;
  GPIO_InitStruct.Mode = GPIO_MODE_OUTPUT_PP;
  GPIO_InitStruct.Pull = GPIO_NOPULL;
  GPIO_InitStruct.Speed = GPIO_SPEED_FREQ_LOW;
  HAL_GPIO_Init(GPIOA, &GPIO_InitStruct);

}

void Error_Handler(void)
{
  __disable_irq();
  while (1)
  {
  }
}

/************************ (C) COPYRIGHT STMicroelectronics *****END OF FILE****/
